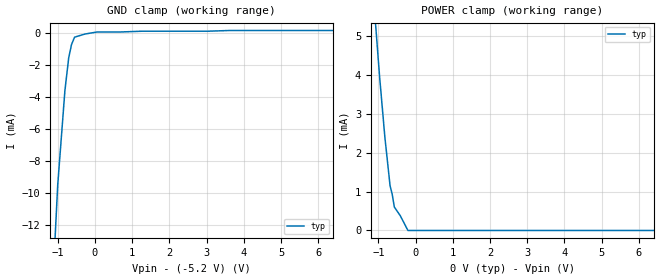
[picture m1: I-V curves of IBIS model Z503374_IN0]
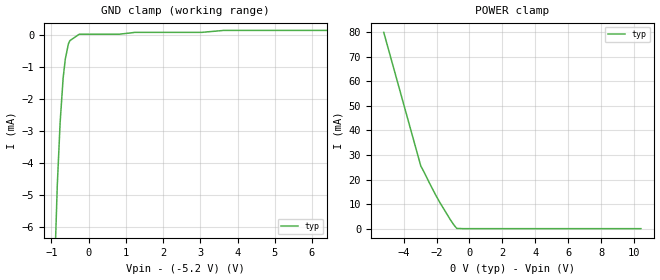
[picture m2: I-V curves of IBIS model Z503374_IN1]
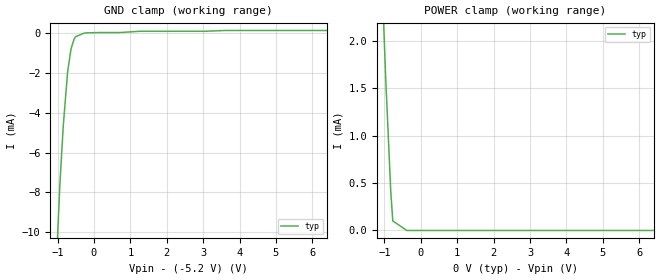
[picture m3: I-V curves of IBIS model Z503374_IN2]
| YOU ARE ONLY AUTHORIZED TO USE THIS SOFTWARE
| ACCORDING TO LICENSOR'S LICENSE RESTRICTIONS.
[IBIS Ver] 3.1
[File Name] mc100e431fn.ibs
[File Rev] 2.0
[Source] Measured and created by ICX Technology
[Date] Friday 7/14/00 9:07:47 AM
[Copyright]
| (C) COPYRIGHT 1993-2000
| MENTOR GRAPHICS CORPORATION
| ICX STANDARD LIBRARY, ICX PROJECT MODELING,
| ICX CUSTOM MODELING, ICX VENDOR MODEL
| ALL RIGHTS RESERVED.
| THE FOLLOWING ARE TRADEMARKS OR SERVICE MARKS OF
| MENTOR GRAPHICS CORPORATION:ICX (R), ICX STANDARD
| LIBRARY(R), ICX PROJECT MODELING(R), ICX CUSTOM
| MODELING(R), qualityIBIS(TM), MODELVIEWER(TM),
| AND MODELEDITOR(TM)
| ALL COPIES OF SOFTWARE, INCLUDING BUT NOT LIMITED TO
| ANY MODIFICATIONS, ENHANCEMENTS OR DERIVATIVE WORKS,
| MUST CONTAIN ALL MENTOR GRAPHICS CORPORATION'S
| NOTICES AND LEGENDS, INCLUDING THOSE EMBEDDED IN
| SOFTWARE AND THOSE AFFIXED TO SOFTWARE MEDIUM
| AND CONTAINER, AS RECEIVED FROM MENTOR GRAPHICS
| CORPORATION.
|  ZAP Model Builder 2.7
[Component] MC100E431FN
[Manufacturer] OnSemiconductor
[Package]
| variable   typ   min   max
R_pkg  .083ohms NA NA
L_pkg  4.299nH NA NA
C_pkg  1.045pF NA NA
[Pin] signal_name  model_name  R_pin  L_pin C_pin
1 VEE POWER .08 3.94n .925p
2 S1 Z503374_IN0 .082 4.14n .995p
3 _D1 Z503374_IN1 .084 4.354n 1.065p
4 D1 Z503374_IN1 .086 4.583n 1.135p
5 CLK0 Z503374_IN2 .086 4.583n 1.135p
6 _CLK0 Z503374_IN2 .084 4.354n 1.065p
7 D0 Z503374_IN1 .082 4.14n .995p
8 _D0 Z503374_IN1 .08 3.94n .925p
9 R0 Z503374_IN3 .082 4.14n .995p
10 S0 Z503374_IN0 .084 4.354n 1.065p
11 VCCO POWER .086 4.583n 1.135p
12 Q0 Z503374_OUT0 .086 4.583n 1.135p
13 _Q0 Z503374_OUT1 .084 4.354n 1.065p
14 Q1 Z503374_OUT0 .082 4.14n .995p
15 _Q1 Z503374_OUT1 .08 3.94n .925p
16 VCC POWER .082 4.14n .995p
17 Q2 Z503374_OUT0 .084 4.354n 1.065p
18 _Q2 Z503374_OUT1 .086 4.583n 1.135p
19 S2 Z503374_IN0 .086 4.583n 1.135p
20 R2 Z503374_IN3 .084 4.354n 1.065p
21 _D2 Z503374_IN1 .082 4.14n .995p
22 D2 Z503374_IN1 .08 3.94n .925p
23 _CLK2 Z503374_IN2 .082 4.14n .995p
24 CLK2 Z503374_IN2 .084 4.354n 1.065p
25 VBB POWER .086 4.583n 1.135p
26 _CLK1 Z503374_IN2 .086 4.583n 1.135p
27 CLK1 Z503374_IN2 .084 4.354n 1.065p
28 R1 Z503374_IN3 .082 4.14n .995p
| Models and submodels in the file (6): Z503374_IN0 (Input_ECL), Z503374_IN1 (Input_ECL), Z503374_IN2 (Input_ECL), Z503374_IN3 (Input_ECL), Z503374_OUT0 (Output_ECL), Z503374_OUT1 (Output_ECL)
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| (C) COPYRIGHT 1993-2000
| MENTOR GRAPHICS CORPORATION
| ICX STANDARD LIBRARY, ICX PROJECT MODELING,
| ICX CUSTOM MODELING, ICX VENDOR MODEL
| ALL RIGHTS RESERVED.
| THE FOLLOWING ARE TRADEMARKS OR SERVICE MARKS OF
| MENTOR GRAPHICS CORPORATION:ICX (R), ICX STANDARD
| LIBRARY(R), ICX PROJECT MODELING(R), ICX CUSTOM
| MODELING(R), qualityIBIS(TM), MODELVIEWER(TM),
| AND MODELEDITOR(TM)
| ALL COPIES OF SOFTWARE, INCLUDING BUT NOT LIMITED TO
| ANY MODIFICATIONS, ENHANCEMENTS OR DERIVATIVE WORKS,
| MUST CONTAIN ALL MENTOR GRAPHICS CORPORATION'S
| NOTICES AND LEGENDS, INCLUDING THOSE EMBEDDED IN
| SOFTWARE AND THOSE AFFIXED TO SOFTWARE MEDIUM
| AND CONTAINER, AS RECEIVED FROM MENTOR GRAPHICS
| CORPORATION.
| Model Application Version 1.89 2/18/99.
[Model] Z503374_IN0
Model_type Input_ECL
Vinl = -1.475V
Vinh = -1.165V
C_comp 4.000pF NA NA
| variable typ   min   max
[Voltage Range] -5.200V NA NA
[GND Clamp Reference] -5.200V NA NA
[POWER Clamp Reference] 0.000V NA NA
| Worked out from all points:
|   GND clamp passes 1 mA (typ) near -0.65 V on its own axis
|   POWER clamp passes 1 mA (typ) near -0.65 V on its own axis
[GND Clamp]
-5.2V     -273.7mA   NA         NA
-1.226V   -20.1mA    NA         NA
-1V       -9.517mA   NA         NA
-806mV    -3.6mA     NA         NA
-705mV    -1.571mA   NA         NA
-629mV    -737.4uA   NA         NA
-547mV    -277.2uA   NA         NA
-273.5mV  -83.47uA   NA         NA
49mV      44.18uA    NA         NA
1.264V    94.95uA    NA         NA
10.4V     140uA      NA         NA
[POWER Clamp]
-5.2V     74.81mA    NA         NA
-1.316V   8.304mA    NA         NA
-966.3mV  3.946mA    NA         NA
-825.2mV  2.4mA      NA         NA
-685.4mV  1.149mA    NA         NA
-628.4mV  934uA      NA         NA
-570.8mV  602.7uA    NA         NA
-410.1mV  377.5uA    NA         NA
-205.1mV  0A         NA         NA
10.4V     0A         NA         NA
| (C) COPYRIGHT 1993-2000
| MENTOR GRAPHICS CORPORATION
| ICX STANDARD LIBRARY, ICX PROJECT MODELING,
| ICX CUSTOM MODELING, ICX VENDOR MODEL
| ALL RIGHTS RESERVED.
| THE FOLLOWING ARE TRADEMARKS OR SERVICE MARKS OF
| MENTOR GRAPHICS CORPORATION:ICX (R), ICX STANDARD
| LIBRARY(R), ICX PROJECT MODELING(R), ICX CUSTOM
| MODELING(R), qualityIBIS(TM), MODELVIEWER(TM),
| AND MODELEDITOR(TM)
| ALL COPIES OF SOFTWARE, INCLUDING BUT NOT LIMITED TO
| ANY MODIFICATIONS, ENHANCEMENTS OR DERIVATIVE WORKS,
| MUST CONTAIN ALL MENTOR GRAPHICS CORPORATION'S
| NOTICES AND LEGENDS, INCLUDING THOSE EMBEDDED IN
| SOFTWARE AND THOSE AFFIXED TO SOFTWARE MEDIUM
| AND CONTAINER, AS RECEIVED FROM MENTOR GRAPHICS
| CORPORATION.
| Model Application Version 1.89 2/18/99.
[Model] Z503374_IN1
Model_type Input_ECL
Vinl = -1.475V
Vinh = -1.165V
C_comp 4.000pF NA NA
| variable typ   min   max
[Voltage Range] -5.200V NA NA
[GND Clamp Reference] -5.200V NA NA
[POWER Clamp Reference] 0.000V NA NA
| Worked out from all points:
|   GND clamp passes 1 mA (typ) near -0.65 V on its own axis
|   POWER clamp passes 1 mA (typ) near -0.88 V on its own axis
[GND Clamp]
-5.2V     -318.3mA   NA         NA
-1.035V   -11.8mA    NA         NA
-844mV    -4.71mA    NA         NA
-767mV    -2.73mA    NA         NA
-687mV    -1.351mA   NA         NA
-629mV    -752.7uA   NA         NA
-546mV    -279.4uA   NA         NA
-507mV    -173.6uA   NA         NA
-253.5mV  29.02uA    NA         NA
3.037V    87.16uA    NA         NA
3.635V    148.5uA    NA         NA
10.4V     148.5uA    NA         NA
[POWER Clamp]
-5.2V     79.93mA    NA         NA
-2.952V   25.5mA     NA         NA
-2.754V   23.02mA    NA         NA
-2.425V   18.54mA    NA         NA
-2.012V   13.22mA    NA         NA
-1.797V   10.66mA    NA         NA
-1.166V   3.709mA    NA         NA
-924mV    1.316mA    NA         NA
-771mV    107.1uA    NA         NA
-385.5mV  0A         NA         NA
10.4V     0A         NA         NA
| (C) COPYRIGHT 1993-2000
| MENTOR GRAPHICS CORPORATION
| ICX STANDARD LIBRARY, ICX PROJECT MODELING,
| ICX CUSTOM MODELING, ICX VENDOR MODEL
| ALL RIGHTS RESERVED.
| THE FOLLOWING ARE TRADEMARKS OR SERVICE MARKS OF
| MENTOR GRAPHICS CORPORATION:ICX (R), ICX STANDARD
| LIBRARY(R), ICX PROJECT MODELING(R), ICX CUSTOM
| MODELING(R), qualityIBIS(TM), MODELVIEWER(TM),
| AND MODELEDITOR(TM)
| ALL COPIES OF SOFTWARE, INCLUDING BUT NOT LIMITED TO
| ANY MODIFICATIONS, ENHANCEMENTS OR DERIVATIVE WORKS,
| MUST CONTAIN ALL MENTOR GRAPHICS CORPORATION'S
| NOTICES AND LEGENDS, INCLUDING THOSE EMBEDDED IN
| SOFTWARE AND THOSE AFFIXED TO SOFTWARE MEDIUM
| AND CONTAINER, AS RECEIVED FROM MENTOR GRAPHICS
| CORPORATION.
| Model Application Version 1.89 2/18/99.
[Model] Z503374_IN2
Model_type Input_ECL
Vinl = -1.475V
Vinh = -1.165V
C_comp 4.000pF NA NA
| variable typ   min   max
[Voltage Range] -5.200V NA NA
[GND Clamp Reference] -5.200V NA NA
[POWER Clamp Reference] 0.000V NA NA
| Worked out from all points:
|   GND clamp passes 1 mA (typ) near -0.65 V on its own axis
|   POWER clamp passes 1 mA (typ) near -0.89 V on its own axis
[GND Clamp]
-5.2V     -321.1mA   NA         NA
-1.035V   -11.65mA   NA         NA
-937mV    -7.631mA   NA         NA
-844mV    -4.678mA   NA         NA
-723mV    -1.926mA   NA         NA
-629mV    -780.6uA   NA         NA
-546mV    -294.5uA   NA         NA
-507mV    -173.8uA   NA         NA
-253.5mV  15.64uA    NA         NA
1.264V    98.19uA    NA         NA
3.614V    139uA      NA         NA
10.4V     139uA      NA         NA
[POWER Clamp]
-5.2V     37.04mA    NA         NA
-2.949V   26.91mA    NA         NA
-2.695V   23.2mA     NA         NA
-2.5V     19.82mA    NA         NA
-1.797V   10.81mA    NA         NA
-1.166V   3.673mA    NA         NA
-966.9mV  1.622mA    NA         NA
-826.8mV  418.4uA    NA         NA
-770.9mV  101.3uA    NA         NA
-385.5mV  0A         NA         NA
10.4V     0A         NA         NA
